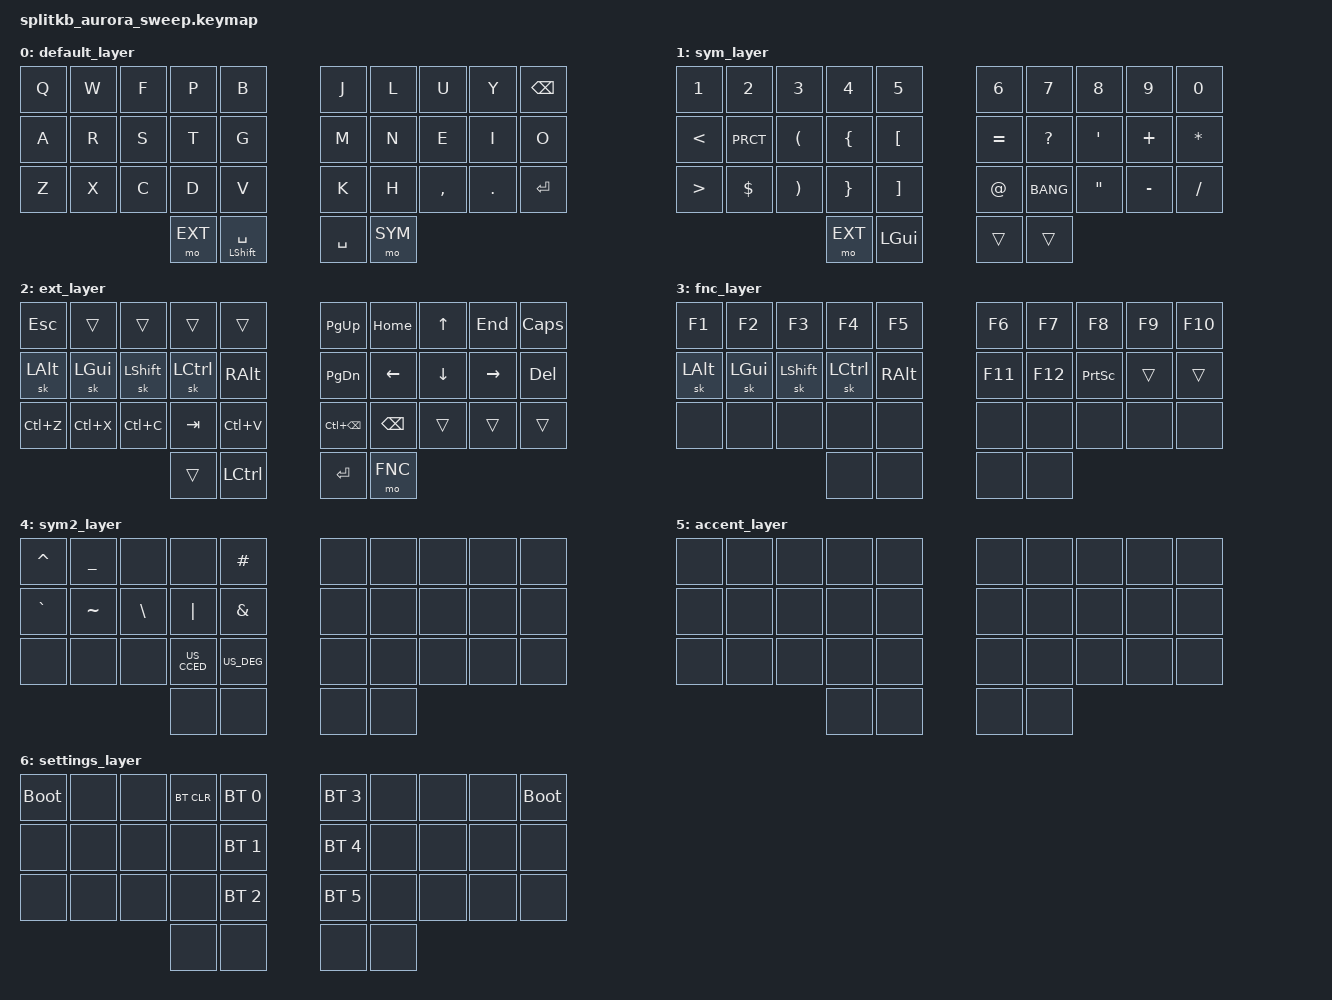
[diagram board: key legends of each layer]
/*
 * Copyright (c) 2022 The ZMK Contributors
 *
 * SPDX-License-Identifier: MIT
 */

#include <behaviors.dtsi>
#include <dt-bindings/zmk/keys.h>
#include <dt-bindings/zmk/bt.h>
#include "remapping.h"

// layers
#define BASE 0
#define SYM 1
#define EXT 2
#define FNC 3
#define SYM2 4
#define ACCENT 5
#define SETTINGS 6

&mt {
  //  flavor = "tap-preferred";
   // tapping_term_ms = <200>;
};

&sk {
    ignore-modifiers;
};

/ {
    combos {
        compatible = "zmk,combos";

		// both right thumb keys
        combo_accent {
            timeout-ms = <300>;
            key-positions = <32 33>;
            bindings = <&mo ACCENT>;
        };

		// internal-left & external-right thumb keys
		combo_sym2 {
				timeout-ms = <200>;
				key-positions = <31 33>;
				bindings = <&mo SYM2>;
		};

		// both left thumb keys
		combo_settings {
				timeout-ms = <300>;
				key-positions = <30 31>;
				bindings = <&mo SETTINGS>;
		};
};

    keymap {
        compatible = "zmk,keymap";

        // Base alpha layer
        default_layer {
            bindings = <
            &kp Q  &kp W  &kp F  &kp P  &kp B              &kp J  &kp L  &kp U  &kp Y  &kp BSPC
            &kp A  &kp R  &kp S  &kp T  &kp G              &kp M  &kp N  &kp E  &kp I  &kp O
            &kp Z  &kp X  &kp C  &kp D  &kp V              &kp K  &kp H  &kp CMMA &kp DOT  &kp ENTER
                                 &mo EXT &mt LSHIFT SPC    &kp SPC  &mo SYM
            >;
        };

        // Numbers and high frequency symbols
        sym_layer {
            bindings = <
            &kp N1  &kp N2   &kp N3   &kp N4   &kp N5       &kp N6  &kp N7    &kp N8   &kp N9    &kp N0
            &kp LT  &kp PRCT &kp LPAR &kp LBRC &kp LBKT     &kp EQL &kp QMARK &kp SQT  &kp PLUS  &kp STAR
            &kp GT  &kp DLLR &kp RPAR &kp RBRC &kp RBKT     &kp AT  &kp BANG  &kp DQT  &kp MINUS &kp SLASH
                                      &mo EXT  &kp LGUI     &trans &trans
            >;
        };

        // Main modifiers and arrow keys
        ext_layer {
            bindings = <
            &kp ESC   &trans    &trans      &trans     &trans         &kp PG_UP    &kp HOME  &kp UP    &kp END    &kp CAPS
            &sk LALT  &sk LGUI  &sk LSHIFT  &sk LCTRL  &kp RALT       &kp PG_DN    &kp LEFT  &kp DOWN  &kp RIGHT  &kp DEL
            &kp LC(Z) &kp LC(X) &kp LC(C)   &kp TAB    &kp LC(V)      &kp LC(BSPC) &kp BSPC  &trans    &trans     &trans
                                            &trans     &kp LCTL       &kp ENTER    &mo FNC
            >;
        };

        // Function keys with modifiers
        fnc_layer {
            bindings = <
            &kp F1   &kp F2    &kp F3     &kp F4    &kp F5            &kp F6  &kp F7   &kp F8     &kp F9  &kp F10
            &sk LALT &sk LGUI  &sk LSHIFT &sk LCTRL &kp RALT          &kp F11 &kp F12  &kp PSCRN  &trans  &trans
            &none    &none     &none      &none     &none			  &none   &none    &none      &none   &none
                    				      &none     &none             &none   &none
        >;
        };

        // Low frequency symbols.
       	sym2_layer {
    		bindings = <
    		&kp CARET &kp UNDER &none     &none       &kp HASH        &none &none &none &none &none
    		&kp GRAVE &kp TILDE &kp BSLH  &kp PIPE    &kp AMPS        &none &none &none &none &none
    		&none 	  &none     &none     &kp US_CCED &kp US_DEG	  &none &none &none &none &none
             				           	  &none       &none           &none &none
    		>;
		};

        // Used to type regional accents.
  		accent_layer {
    		bindings = <
    		&none &none &none &none &none                         &none &none &none &none &none
    		&none &none &none &none &none        &none &none &none &none &none
    		&none &none &none &none &none                   &none &none &none &none &none
           				     &none &none                          &none &none
    		>;
		};

        // Used to change the keyboard's settings.
  		settings_layer {
    		bindings = <
    		&bootloader &none &none &bt BT_CLR &bt BT_SEL 0       &bt BT_SEL 3 &none &none &none &bootloader
    		&none &none &none &none      &bt BT_SEL 1 		      &bt BT_SEL 4 &none &none &none &none
    		&none &none &none &none      &bt BT_SEL 2             &bt BT_SEL 5 &none &none &none &none
           				     &none &none                          &none &none
    		>;
		};

    };
};
